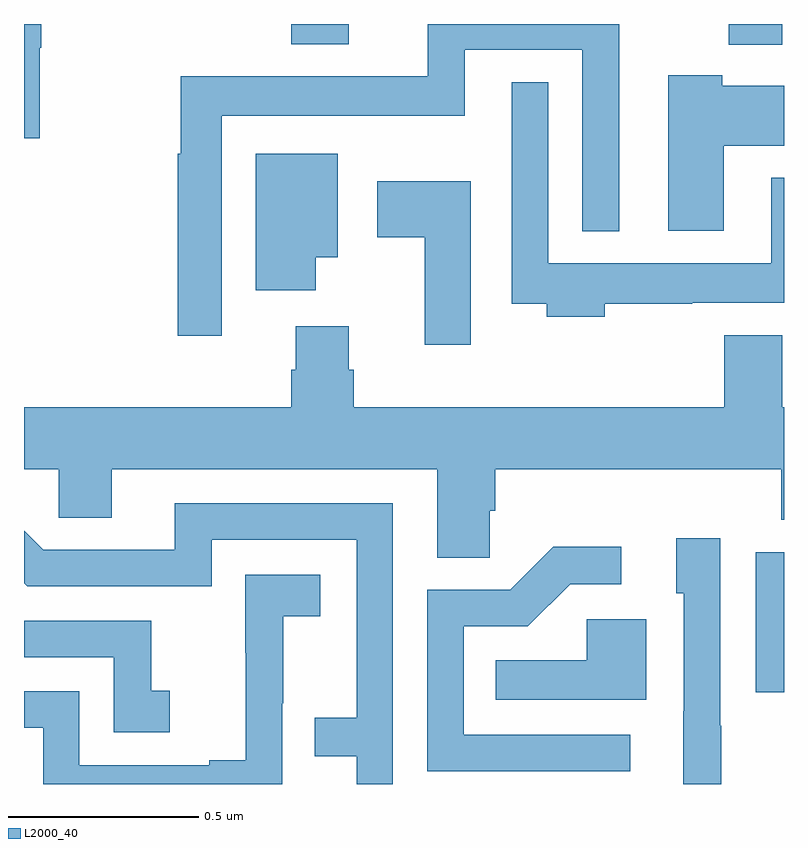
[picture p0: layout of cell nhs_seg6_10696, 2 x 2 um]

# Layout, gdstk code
import gdstk
lib = gdstk.Library(unit=1e-6, precision=1e-09)
def R(c, l, rs):  # rectangles x0, y0, x1, y1
    for r in rs: c.add(gdstk.rectangle(r[:2], r[2:], *l))
def P(c, l, *ps):  # polygons
    for p in ps: c.add(gdstk.Polygon(p, *l))
L2000_40 = (2000, 40)

nhs_seg6_10696 = lib.new_cell('nhs_seg6_10696')
R(nhs_seg6_10696, L2000_40, [(251.925,954.741,252,955.11), (251.855,956.445,251.995,956.5), (250.703,956.447,250.855,956.5)])
P(nhs_seg6_10696, L2000_40, [(250.521,956.258),(251.16,956.258),(251.16,956.432),(251.469,956.432),(251.469,955.955),(251.566,955.955),(251.566,956.5),(251.063,956.5),(251.063,956.362),(250.413,956.362),(250.413,956.158),(250.405,956.158),(250.405,955.68),(250.521,955.68)],
  [(250.041,956.438),(250.046,956.438),(250.046,956.5),(250,956.5),(250,956.199),(250.041,956.199)],
  [(251.842,956.18),(252,956.18),(252,956.338),(251.838,956.338),(251.838,956.365),(251.696,956.365),(251.696,955.956),(251.842,955.956)],
  [(251.528,955.764),(251.759,955.764),(251.759,955.766),(252,955.766),(252,956.095),(251.967,956.095),(251.967,955.87),(251.379,955.87),(251.379,956.347),(251.283,956.347),(251.283,955.764),(251.375,955.764),(251.375,955.73),(251.528,955.73)],
  [(250.768,955.886),(250.825,955.886),(250.825,956.158),(250.61,956.158),(250.61,955.8),(250.768,955.8)],
  [(251.176,956.086),(250.929,956.086),(250.929,955.939),(251.054,955.939),(251.054,955.656),(251.176,955.656)],
  [(251.226,955.219),(251.24,955.219),(251.24,955.328),(251.993,955.328),(251.993,955.195),(252,955.195),(252,955.492),(251.995,955.492),(251.995,955.681),(251.843,955.681),(251.843,955.492),(250.868,955.492),(250.868,955.59),(250.855,955.59),(250.855,955.705),(250.715,955.705),(250.715,955.59),(250.703,955.59),(250.703,955.492),(250,955.492),(250,955.328),(250.092,955.328),(250.092,955.201),(250.231,955.201),(250.231,955.328),(251.087,955.328),(251.087,955.096),(251.226,955.096)],
  [(250.971,955.239),(250.397,955.239),(250.397,955.116),(250.05,955.116),(250,955.166),(250,955.028),(250.008,955.02),(250.494,955.02),(250.494,955.143),(250.875,955.143),(250.875,954.674),(250.765,954.674),(250.765,954.573),(250.875,954.573),(250.875,954.5),(250.971,954.5)],
  [(251.835,954.653),(251.832,954.653),(251.832,955.147),(251.717,955.147),(251.717,955.002),(251.736,955.002),(251.736,954.692),(251.735,954.692),(251.735,954.5),(251.835,954.5)],
  [(251.596,954.63),(251.157,954.63),(251.157,954.915),(251.326,954.915),(251.437,955.026),(251.572,955.026),(251.572,955.124),(251.393,955.124),(251.28,955.011),(251.061,955.011),(251.061,954.534),(251.596,954.534)],
  [(250.68,954.713),(250.682,954.713),(250.682,954.941),(250.78,954.941),(250.78,955.051),(250.582,955.051),(250.582,954.845),(250.583,954.845),(250.583,954.562),(250.487,954.562),(250.487,954.549),(250.146,954.549),(250.146,954.744),(250,954.744),(250,954.648),(250.05,954.648),(250.05,954.5),(250.68,954.5)],
  [(251.638,954.934),(251.481,954.934),(251.481,954.826),(251.242,954.826),(251.242,954.722),(251.638,954.722)],
  [(250.384,954.745),(250.335,954.745),(250.335,954.93),(250,954.93),(250,954.834),(250.236,954.834),(250.236,954.636),(250.384,954.636)])

lib.write_gds('nhs_seg6_10696.gds')
